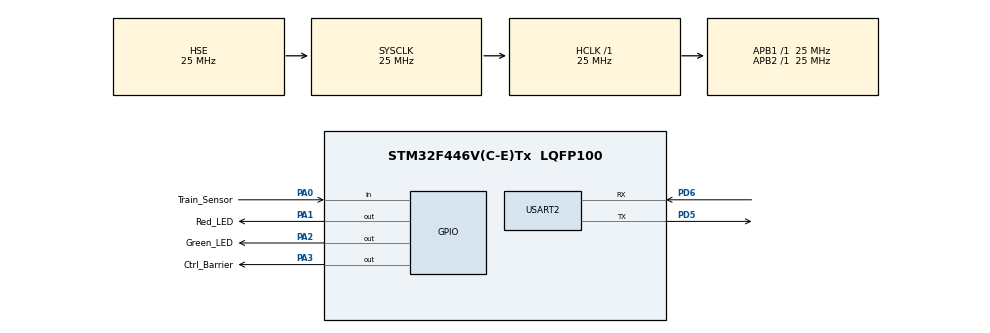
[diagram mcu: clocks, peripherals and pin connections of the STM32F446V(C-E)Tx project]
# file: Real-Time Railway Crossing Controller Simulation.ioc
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FREERTOS.Tasks01=LogTask,8,128,StartTask04,Default,NULL,Dynamic,NULL,NULL;SensorTask,48,128,StartTask02,Default,NULL,Dynamic,NULL,NULL;ControlTask,48,128,StartTask03,Default,NULL,Dynamic,NULL,NULL
Mcu.Family=STM32F4
Mcu.Name=STM32F446V(C-E)Tx
Mcu.Package=LQFP100
NVIC.PriorityGroup=NVIC_PRIORITYGROUP_4
NVIC.TIM2_IRQn=true\:5\:0\:false\:false\:true\:true\:true\:true\:true
PA0-WKUP.GPIO_Label=Train_Sensor
PA0-WKUP.Signal=GPIO_Input
PA1.GPIO_Label=Red_LED
PA1.Signal=GPIO_Output
PA13.Mode=Serial_Wire
PA13.Signal=SYS_JTMS-SWDIO
PA14.Mode=Serial_Wire
PA14.Signal=SYS_JTCK-SWCLK
PA2.GPIO_Label=Green_LED
PA2.Signal=GPIO_Output
PA3.GPIO_Label=Ctrl_Barrier
PA3.Signal=GPIO_Output
PD5.Mode=Asynchronous
PD5.Signal=USART2_TX
PD6.Mode=Asynchronous
PD6.Signal=USART2_RX
PH0-OSC_IN.Mode=HSE-External-Oscillator
PH0-OSC_IN.Signal=RCC_OSC_IN
PH1-OSC_OUT.Mode=HSE-External-Oscillator
PH1-OSC_OUT.Signal=RCC_OSC_OUT
ProjectManager.HeapSize=0x200
ProjectManager.StackSize=0x400
ProjectManager.TargetToolchain=STM32CubeIDE
RCC.AHBFreq_Value=25000000
RCC.APB1Freq_Value=25000000
RCC.APB1TimFreq_Value=25000000
RCC.APB2Freq_Value=25000000
RCC.APB2TimFreq_Value=25000000
RCC.CortexFreq_Value=25000000
RCC.HCLKFreq_Value=25000000
RCC.SYSCLKFreq_VALUE=25000000
RCC.SYSCLKSource=RCC_SYSCLKSOURCE_HSE
RCC.USBFreq_Value=96000000
RCC.VCOOutputFreq_Value=192000000
TIM2.Period=500
TIM2.Prescaler=8399
USART2.VirtualMode=VM_ASYNC
VP_FREERTOS_VS_CMSIS_V2.Mode=CMSIS_V2
VP_RTC_VS_RTC_Activate.Mode=RTC_Enabled
VP_RTC_VS_RTC_Calendar.Mode=RTC_Calendar
VP_TIM2_VS_ClockSourceINT.Mode=Internal
board=custom

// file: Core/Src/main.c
/* USER CODE BEGIN Header */
/**
  ******************************************************************************
  * @file           : main.c
  * @brief          : Main program body
  * @author			: Aravind PV
  * @date			: 14/04/2025
  ******************************************************************************
  * @attention
  *
  * Copyright (c) 2025 STMicroelectronics.
  * All rights reserved.
  *
  * This software is licensed under terms that can be found in the LICENSE file
  * in the root directory of this software component.
  * If no LICENSE file comes with this software, it is provided AS-IS.
  *
  ******************************************************************************
  */
/* USER CODE END Header */
#include "main.h"
#include "cmsis_os.h"
#include "rtc.h"
#include "tim.h"
#include "usart.h"
#include "gpio.h"

/* USER CODE BEGIN Includes */
#include <stdio.h>

/* USER CODE END Includes */

void SystemClock_Config(void);
void MX_FREERTOS_Init(void);

int main(void)
{

  /* MCU Configuration--------------------------------------------------------*/

  /* Reset of all peripherals, Initializes the Flash interface and the Systick. */
  HAL_Init();

  /* Configure the system clock */
  SystemClock_Config();

  /* Initialize all configured peripherals */
  MX_GPIO_Init();
  MX_RTC_Init();
  MX_TIM2_Init();
  MX_USART2_UART_Init();
  /* USER CODE BEGIN 2 */
  HAL_TIM_Base_Start_IT(&htim2); //to get 50ms
  /* USER CODE END 2 */

  /* Init scheduler */
  osKernelInitialize();

  /* Call init function for freertos objects (in cmsis_os2.c) */
  MX_FREERTOS_Init();

  /* Start scheduler */
  osKernelStart();

  /* We should never get here as control is now taken by the scheduler */

  /* Infinite loop */
  while (1)
  {

  }
}

void SystemClock_Config(void)
{
  RCC_OscInitTypeDef RCC_OscInitStruct = {0};
  RCC_ClkInitTypeDef RCC_ClkInitStruct = {0};

  /** Configure the main internal regulator output voltage
  */
  __HAL_RCC_PWR_CLK_ENABLE();
  __HAL_PWR_VOLTAGESCALING_CONFIG(PWR_REGULATOR_VOLTAGE_SCALE3);

  /** Initializes the RCC Oscillators according to the specified parameters
  * in the RCC_OscInitTypeDef structure.
  */
  RCC_OscInitStruct.OscillatorType = RCC_OSCILLATORTYPE_LSI|RCC_OSCILLATORTYPE_HSE;
  RCC_OscInitStruct.HSEState = RCC_HSE_ON;
  RCC_OscInitStruct.LSEState = RCC_LSE_OFF;
  RCC_OscInitStruct.LSIState = RCC_LSI_ON;
  RCC_OscInitStruct.PLL.PLLState = RCC_PLL_NONE;
  if (HAL_RCC_OscConfig(&RCC_OscInitStruct) != HAL_OK)
  {
    Error_Handler();
  }

  /** Initializes the CPU, AHB and APB buses clocks
  */
  RCC_ClkInitStruct.ClockType = RCC_CLOCKTYPE_HCLK|RCC_CLOCKTYPE_SYSCLK
                              |RCC_CLOCKTYPE_PCLK1|RCC_CLOCKTYPE_PCLK2;
  RCC_ClkInitStruct.SYSCLKSource = RCC_SYSCLKSOURCE_HSE;
  RCC_ClkInitStruct.AHBCLKDivider = RCC_SYSCLK_DIV1;
  RCC_ClkInitStruct.APB1CLKDivider = RCC_HCLK_DIV1;
  RCC_ClkInitStruct.APB2CLKDivider = RCC_HCLK_DIV1;

  if (HAL_RCC_ClockConfig(&RCC_ClkInitStruct, FLASH_LATENCY_0) != HAL_OK)
  {
    Error_Handler();
  }
}

void Error_Handler(void)
{
  __disable_irq();
  while (1)
  {
  }
}

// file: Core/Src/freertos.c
/* USER CODE BEGIN Header */
/**
  ******************************************************************************
  * File Name          : freertos.c
  * Description        : Code for freertos applications
  ******************************************************************************
  * @attention
  *
  * Copyright (c) 2025 STMicroelectronics.
  * All rights reserved.
  *
  * This software is licensed under terms that can be found in the LICENSE file
  * in the root directory of this software component.
  * If no LICENSE file comes with this software, it is provided AS-IS.
  *
  ******************************************************************************
  */
/* USER CODE END Header */

#include "FreeRTOS.h"
#include "task.h"
#include "main.h"
#include "cmsis_os.h"

/* USER CODE BEGIN Includes */
#include <stdio.h>
#include "tim.h"
#include "rtc.h"
#include "gpio.h"
#include "queue.h"
#include "semphr.h"
/* USER CODE END Includes */

/* USER CODE BEGIN Variables */

QueueHandle_t SensorEventQueue;
SemaphoreHandle_t LoggerSignal;

typedef enum {
	STATE_IDLE,
    STATE_TRANSITIONING,
    STATE_ACTIVE,
    STATE_RESET
} CrossingState_t;

typedef struct {
    uint8_t hour;
    uint8_t minute;
    uint8_t second;
    uint16_t ms;
    uint8_t event_type;
} SensorEvent_t;

/* USER CODE END Variables */
/* Definitions for LogTask */
osThreadId_t LogTaskHandle;
const osThreadAttr_t LogTask_attributes = {
  .name = "LogTask",
  .stack_size = 128 * 4,
  .priority = (osPriority_t) osPriorityLow,
};
/* Definitions for SensorTask */
osThreadId_t SensorTaskHandle;
const osThreadAttr_t SensorTask_attributes = {
  .name = "SensorTask",
  .stack_size = 128 * 4,
  .priority = (osPriority_t) osPriorityRealtime,
};
/* Definitions for ControlTask */
osThreadId_t ControlTaskHandle;
const osThreadAttr_t ControlTask_attributes = {
  .name = "ControlTask",
  .stack_size = 128 * 4,
  .priority = (osPriority_t) osPriorityRealtime,
};

void StartTask04(void *argument);
void StartTask02(void *argument);
void StartTask03(void *argument);

void MX_FREERTOS_Init(void); /* (MISRA C 2004 rule 8.1) */

void MX_FREERTOS_Init(void) {

  /* Create the thread(s) */
  /* creation of LogTask */
  LogTaskHandle = osThreadNew(StartTask04, NULL, &LogTask_attributes);

  /* creation of SensorTask */
  SensorTaskHandle = osThreadNew(StartTask02, NULL, &SensorTask_attributes);

  /* creation of ControlTask */
  ControlTaskHandle = osThreadNew(StartTask03, NULL, &ControlTask_attributes);

}

void StartTask04(void *argument)
{
  /* USER CODE BEGIN StartTask04 */
  /* Infinite loop */
	for (;;)
	{
		if (xSemaphoreTake(LoggerSignal, portMAX_DELAY) == pdPASS)
		{
			// Simulate logging (e.g., to UART)
			// For now, just pulse LED or print if UART is ready
			HAL_GPIO_TogglePin(Green_LED_GPIO_Port, Green_LED_Pin);
			osDelay(100); // Visual blink
		}
	}
  /* USER CODE END StartTask04 */
}

void StartTask02(void *argument)
{
  /* USER CODE BEGIN StartTask02 */
  /* Infinite loop */
	for(;;)
	{
		ulTaskNotifyTake(pdTRUE, portMAX_DELAY);

		RTC_TimeTypeDef sTime;
		RTC_DateTypeDef sDate;
		HAL_RTC_GetTime(&hrtc, &sTime, RTC_FORMAT_BIN);
		HAL_RTC_GetDate(&hrtc, &sDate, RTC_FORMAT_BIN);

		if (HAL_GPIO_ReadPin(Train_Sensor_GPIO_Port, Train_Sensor_Pin) == GPIO_PIN_SET)
		{
			SensorEvent_t evt;
			evt.hour = sTime.Hours;
			evt.minute = sTime.Minutes;
			evt.second = sTime.Seconds;
			evt.ms = 0;
			evt.event_type = 1;

			xQueueSend(SensorEventQueue, &evt, 0);
		}
	}

  /* USER CODE END StartTask02 */
}

void StartTask03(void *argument)
{
  /* USER CODE BEGIN StartTask03 */
  /* Infinite loop */
	CrossingState_t state = STATE_IDLE;
	SensorEvent_t event;

	for (;;)
	{
		if (xQueueReceive(SensorEventQueue, &event, portMAX_DELAY) == pdPASS)
		{
			switch (state)
			{
				case STATE_IDLE:
					if (event.event_type == 1) // Train detected
					{
						HAL_GPIO_WritePin(Red_LED_GPIO_Port, Red_LED_Pin, GPIO_PIN_SET);
						HAL_GPIO_WritePin(Green_LED_GPIO_Port, Green_LED_Pin, GPIO_PIN_RESET);

						// Start closing barrier
						HAL_GPIO_WritePin(Ctrl_Barrier_GPIO_Port, Ctrl_Barrier_Pin, GPIO_PIN_SET);
						state = STATE_TRANSITIONING;
						osDelay(1000); // simulate 1s transition
					}
				break;

				case STATE_TRANSITIONING:
					// Barrier Closed
					HAL_GPIO_WritePin(Ctrl_Barrier_GPIO_Port, Ctrl_Barrier_Pin, GPIO_PIN_RESET);
					state = STATE_ACTIVE;
					osDelay(2000); // simulate time for train to pass
					break;

				case STATE_ACTIVE:
					// Train has passed, move to reset
					if (event.event_type == 0)
						{
							state = STATE_RESET;
						}
					break;

				case STATE_RESET:
					// Green ON, Red OFF, lift barrier
					HAL_GPIO_WritePin(Red_LED_GPIO_Port, Red_LED_Pin, GPIO_PIN_RESET);
					HAL_GPIO_WritePin(Green_LED_GPIO_Port, Green_LED_Pin, GPIO_PIN_SET);
					HAL_GPIO_WritePin(Ctrl_Barrier_GPIO_Port, Ctrl_Barrier_Pin, GPIO_PIN_RESET);

					state = STATE_IDLE;
					break;
			}
			xSemaphoreGive(LoggerSignal);
		}
	}
  /* USER CODE END StartTask03 */
}
